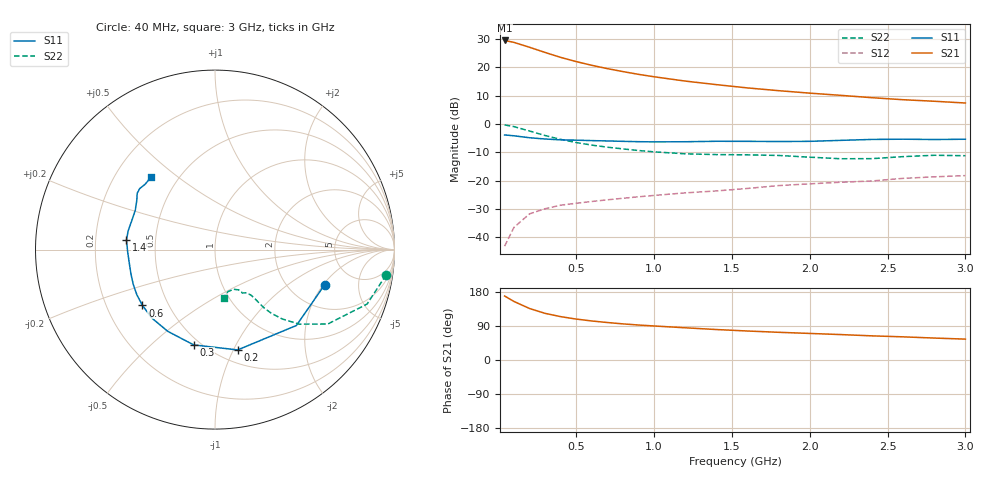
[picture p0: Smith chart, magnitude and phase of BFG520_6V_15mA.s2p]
! Filename:  BFG520J.S2P  Version:  2.1
! Philips part #: BFG520  Date: Feb 1992
! Bias condition: Vce=6V, Ic=15mA
! IN LINE PINNING: same data as with cross emitter pinning.
#  MHz  S  MA  R  50
! Freq  S11  S21  S12  S22  !GUM [dB]
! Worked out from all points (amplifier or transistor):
!   21 points, 40 MHz to 3 GHz, reference 50 ohm
!   highest |S21| = 29.5 dB at 40 MHz (marker M1)
!   |S21| within 3 dB of that: start of sweep to 232.7 MHz
!   unconditionally stable (mu >= 1): 1.128 GHz to end of sweep
!   at 300 MHz: K = 0.39, MSG = 27.6 dB, |S12| = -29.9 dB
!   at 1 GHz: K = 0.95, MSG = 20.9 dB, |S12| = -25.2 dB
!   at 3 GHz: K = 1.23, MAG = 9.9 dB, |S12| = -18.2 dB
!   lowest NFmin = 1.30 dB at 500 MHz
!   S11 on the Smith chart (normalised r, x): 40 MHz: 3.11, -2.07; 200 MHz: 0.62, -1.04; 300 MHz: 0.46, -0.69; 600 MHz: 0.36, -0.30; 1.4 GHz: 0.34, +0.05; 3 GHz: 0.35, +0.41
40  0.642 -17.7  29.81 168.9  0.007 80.7  0.964 -8.4
100  0.62 -43.0  27.55 154.5  0.015 71.9  0.9 -19.7
200  0.573 -77.3  22.6 135.9  0.026 60.1  0.753 -33.4
300  0.544 -102.6  18.31 123.1  0.032 53.2  0.627 -41.5
400  0.526 -120.0  14.99 114.4  0.037 51.6  0.536 -46.0
500  0.519 -132.7  12.63 108.0  0.04 50.0  0.471 -48.6
600  0.51 -142.4  10.86 103.0  0.043 50.0  0.425 -49.9
700  0.503 -149.9  9.497 98.9  0.046 50.9  0.39 -50.4
800  0.495 -156.9  8.418 95.3  0.049 52.3  0.364 -50.7
900  0.488 -163.2  7.526 92.3  0.052 54.1  0.341 -51.1
1000  0.484 -168.8  6.819 89.8  0.055 55.5  0.323 -51.7
1200  0.487 -178.8  5.725 85.0  0.061 57.1  0.298 -53.9
1400  0.496 173.9  4.955 80.4  0.066 58.6  0.289 -56.6
1600  0.495 167.9  4.335 76.5  0.073 61.1  0.286 -57.8
1800  0.491 160.9  3.877 73.1  0.082 61.6  0.279 -58.0
2000  0.495 153.8  3.507 70.1  0.088 63.2  0.26 -59.6
2200  0.515 147.8  3.205 67.1  0.094 63.3  0.244 -65.0
2400  0.535 144.1  2.913 63.7  0.099 64.8  0.245 -72.9
2600  0.54 141.1  2.684 61.1  0.11 64.9  0.266 -78.1
2800  0.533 136.9  2.522 57.9  0.117 64.2  0.281 -79.1
3000  0.539 131.1  2.348 55.1  0.123 65.2  0.276 -79.5
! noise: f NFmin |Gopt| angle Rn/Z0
500  1.3  0.256  27  0.25
900  1.45  0.228  52  0.25
1000  1.5  0.233  57  0.28
2000  2.05  0.215  147  0.17
